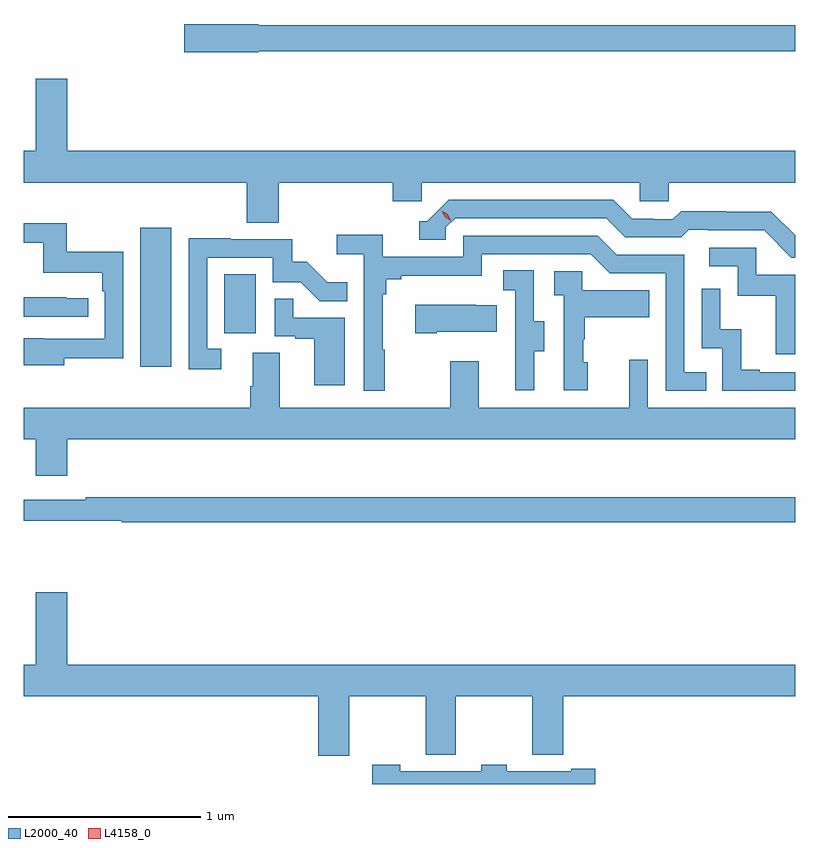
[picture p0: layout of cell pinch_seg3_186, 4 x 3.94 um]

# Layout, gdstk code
import gdstk
lib = gdstk.Library(unit=1e-6, precision=1e-09)
def R(c, l, rs):  # rectangles x0, y0, x1, y1
    for r in rs: c.add(gdstk.rectangle(r[:2], r[2:], *l))
def P(c, l, *ps):  # polygons
    for p in ps: c.add(gdstk.Polygon(p, *l))
L2000_40 = (2000, 40)
L4158_0 = (4158, 0)

pinch_seg3_186 = lib.new_cell('pinch_seg3_186')
R(pinch_seg3_186, L2000_40, [(980.735,737.256,980.896,737.977), (981.17,737.43,981.334,737.737)])
P(pinch_seg3_186, L2000_40, [(981.348,738.892),(984.131,738.892),(984.131,739.028),(981.348,739.028),(981.348,739.034),(980.964,739.034),(980.964,738.887),(981.348,738.887)],
  [(981.452,738.212),(982.043,738.212),(982.043,738.114),(982.194,738.114),(982.194,738.212),(983.325,738.212),(983.325,738.114),(983.475,738.114),(983.475,738.212),(984.131,738.212),(984.131,738.376),(980.356,738.376),(980.356,738.751),(980.192,738.751),(980.192,738.376),(980.131,738.376),(980.131,738.212),(981.287,738.212),(981.287,738.004),(981.452,738.004)],
  [(984.131,737.938),(984.008,738.061),(983.772,738.061),(983.772,738.064),(983.539,738.064),(983.497,738.021),(983.394,738.021),(983.394,738.024),(983.287,738.024),(983.188,738.123),(982.335,738.123),(982.224,738.012),(982.181,738.012),(982.181,737.916),(982.32,737.916),(982.32,737.979),(982.368,738.027),(983.151,738.027),(983.25,737.928),(983.539,737.928),(983.578,737.967),(983.677,737.967),(983.677,737.964),(983.97,737.964),(984.111,737.823),(984.131,737.823)],
  [(980.341,737.302),(980.646,737.302),(980.646,737.854),(980.353,737.854),(980.353,738),(980.131,738),(980.131,737.899),(980.232,737.899),(980.232,737.744),(980.537,737.744),(980.537,737.648),(980.55,737.648),(980.55,737.403),(980.237,737.403),(980.237,737.404),(980.131,737.404),(980.131,737.264),(980.341,737.264)],
  [(982.003,737.345),(981.991,737.345),(981.991,737.633),(982.01,737.633),(982.01,737.71),(982.087,737.71),(982.087,737.729),(982.506,737.729),(982.506,737.841),(983.07,737.841),(983.169,737.742),(983.46,737.742),(983.46,737.133),(983.669,737.133),(983.669,737.229),(983.556,737.229),(983.556,737.838),(983.206,737.838),(983.107,737.937),(982.41,737.937),(982.41,737.826),(981.992,737.826),(981.992,737.942),(981.753,737.942),(981.753,737.84),(981.894,737.84),(981.894,737.133),(982.003,737.133)],
  [(981.154,737.349),(981.081,737.349),(981.081,737.823),(981.423,737.823),(981.423,737.694),(981.567,737.694),(981.665,737.596),(981.809,737.596),(981.809,737.695),(981.705,737.695),(981.598,737.802),(981.522,737.802),(981.522,737.919),(981.203,737.919),(981.203,737.924),(980.985,737.924),(980.985,737.244),(981.154,737.244)],
  [(984.131,737.733),(983.928,737.733),(983.928,737.874),(983.685,737.874),(983.685,737.778),(983.832,737.778),(983.832,737.625),(984.031,737.625),(984.031,737.322),(984.131,737.322)],
  [(982.777,737.338),(982.831,737.338),(982.831,737.493),(982.776,737.493),(982.776,737.756),(982.617,737.756),(982.617,737.653),(982.68,737.653),(982.68,737.349),(982.679,737.349),(982.679,737.136),(982.777,737.136)],
  [(983.056,737.28),(983.031,737.28),(983.031,737.399),(983.041,737.399),(983.041,737.513),(983.375,737.513),(983.375,737.653),(983.028,737.653),(983.028,737.751),(982.881,737.751),(982.881,737.627),(982.932,737.627),(982.932,737.136),(983.056,737.136)],
  [(984.131,737.229),(983.947,737.229),(983.947,737.242),(983.852,737.242),(983.852,737.45),(983.742,737.45),(983.742,737.662),(983.646,737.662),(983.646,737.352),(983.754,737.352),(983.754,737.133),(984.131,737.133)],
  [(980.464,737.613),(980.351,737.613),(980.351,737.618),(980.131,737.618),(980.131,737.517),(980.464,737.517)],
  [(981.796,737.511),(981.527,737.511),(981.527,737.609),(981.432,737.609),(981.432,737.415),(981.539,737.415),(981.539,737.403),(981.638,737.403),(981.638,737.16),(981.796,737.16)],
  [(982.273,737.438),(982.583,737.438),(982.583,737.575),(982.475,737.575),(982.475,737.578),(982.161,737.578),(982.161,737.431),(982.273,737.431)],
  [(984.131,737.044),(983.367,737.044),(983.367,737.293),(983.27,737.293),(983.27,737.044),(982.489,737.044),(982.489,737.284),(982.342,737.284),(982.342,737.044),(981.457,737.044),(981.457,737.33),(981.317,737.33),(981.317,737.156),(981.305,737.156),(981.305,737.044),(980.131,737.044),(980.131,736.88),(980.192,736.88),(980.192,736.692),(980.356,736.692),(980.356,736.88),(984.131,736.88)],
  [(984.131,736.579),(980.452,736.579),(980.452,736.566),(980.131,736.566),(980.131,736.458),(980.638,736.458),(980.638,736.45),(984.131,736.45)],
  [(980.356,736.087),(980.192,736.087),(980.192,735.712),(980.131,735.712),(980.131,735.548),(981.659,735.548),(981.659,735.24),(981.819,735.24),(981.819,735.548),(982.216,735.548),(982.216,735.244),(982.37,735.244),(982.37,735.548),(982.768,735.548),(982.768,735.244),(982.928,735.244),(982.928,735.548),(984.131,735.548),(984.131,735.712),(980.356,735.712)],
  [(983.093,735.172),(982.97,735.172),(982.97,735.159),(982.635,735.159),(982.635,735.192),(982.503,735.192),(982.503,735.159),(982.083,735.159),(982.083,735.192),(981.939,735.192),(981.939,735.093),(983.093,735.093)])
P(pinch_seg3_186, L4158_0, [(982.346,738.014),(982.315,738.034),(982.298,738.066),(982.298,738.066),(982.298,738.066),(982.329,738.047),(982.346,738.015),(982.346,738.014)])

lib.write_gds('pinch_seg3_186.gds')
